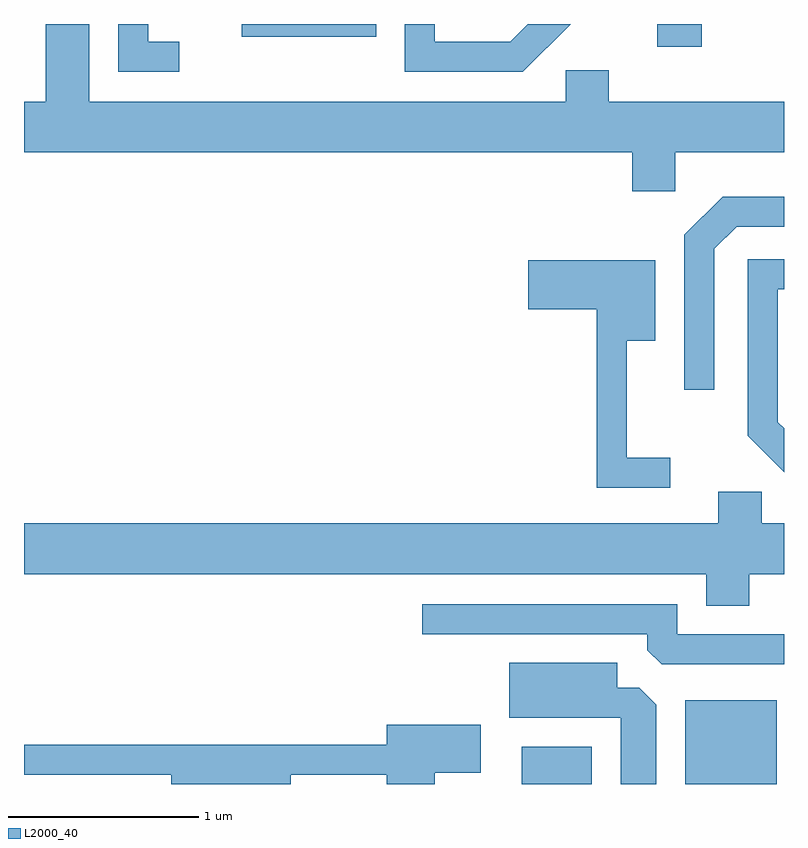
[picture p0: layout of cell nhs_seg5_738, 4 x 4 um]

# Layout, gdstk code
import gdstk
lib = gdstk.Library(unit=1e-6, precision=1e-09)
def R(c, l, rs):  # rectangles x0, y0, x1, y1
    for r in rs: c.add(gdstk.rectangle(r[:2], r[2:], *l))
def P(c, l, *ps):  # polygons
    for p in ps: c.add(gdstk.Polygon(p, *l))
L2000_40 = (2000, 40)

nhs_seg5_738 = lib.new_cell('nhs_seg5_738')
R(nhs_seg5_738, L2000_40, [(208.231,1520.072,208.599,1520.269), (209.091,1520.072,209.574,1520.514), (208.943,1523.951,209.179,1524.072), (206.756,1524.006,207.464,1524.072)])
P(nhs_seg5_738, L2000_40, [(209.039,1523.396),(209.611,1523.396),(209.611,1523.664),(208.689,1523.664),(208.689,1523.829),(208.461,1523.829),(208.461,1523.664),(205.954,1523.664),(205.954,1524.072),(205.726,1524.072),(205.726,1523.664),(205.611,1523.664),(205.611,1523.396),(208.811,1523.396),(208.811,1523.191),(209.039,1523.191)],
  [(206.428,1523.979),(206.264,1523.979),(206.264,1524.072),(206.106,1524.072),(206.106,1523.821),(206.428,1523.821)],
  [(208.488,1524.072),(208.261,1524.072),(208.169,1523.979),(207.774,1523.979),(207.774,1524.072),(207.616,1524.072),(207.616,1523.821),(208.237,1523.821)],
  [(209.244,1522.889),(209.362,1523.006),(209.611,1523.006),(209.611,1523.164),(209.289,1523.164),(209.086,1522.962),(209.086,1522.148),(209.244,1522.148)],
  [(209.611,1521.945),(209.579,1521.977),(209.579,1522.676),(209.611,1522.676),(209.611,1522.834),(209.421,1522.834),(209.421,1521.904),(209.611,1521.714)],
  [(209.013,1521.789),(208.784,1521.789),(208.784,1522.406),(208.934,1522.406),(208.934,1522.829),(208.266,1522.829),(208.266,1522.571),(208.626,1522.571),(208.626,1521.631),(209.013,1521.631)],
  [(209.429,1521.176),(209.611,1521.176),(209.611,1521.444),(209.494,1521.444),(209.494,1521.609),(209.266,1521.609),(209.266,1521.444),(205.611,1521.444),(205.611,1521.176),(209.201,1521.176),(209.201,1521.011),(209.429,1521.011)],
  [(209.611,1520.859),(209.049,1520.859),(209.049,1521.019),(207.708,1521.019),(207.708,1520.861),(208.891,1520.861),(208.891,1520.777),(208.967,1520.701),(209.611,1520.701)],
  [(208.939,1520.489),(208.849,1520.579),(208.734,1520.579),(208.734,1520.709),(208.166,1520.709),(208.166,1520.421),(208.751,1520.421),(208.751,1520.072),(208.939,1520.072)],
  [(207.014,1520.121),(207.521,1520.121),(207.521,1520.072),(207.774,1520.072),(207.774,1520.131),(208.014,1520.131),(208.014,1520.384),(207.521,1520.384),(207.521,1520.279),(205.611,1520.279),(205.611,1520.121),(206.386,1520.121),(206.386,1520.072),(207.014,1520.072)])

lib.write_gds('nhs_seg5_738.gds')
